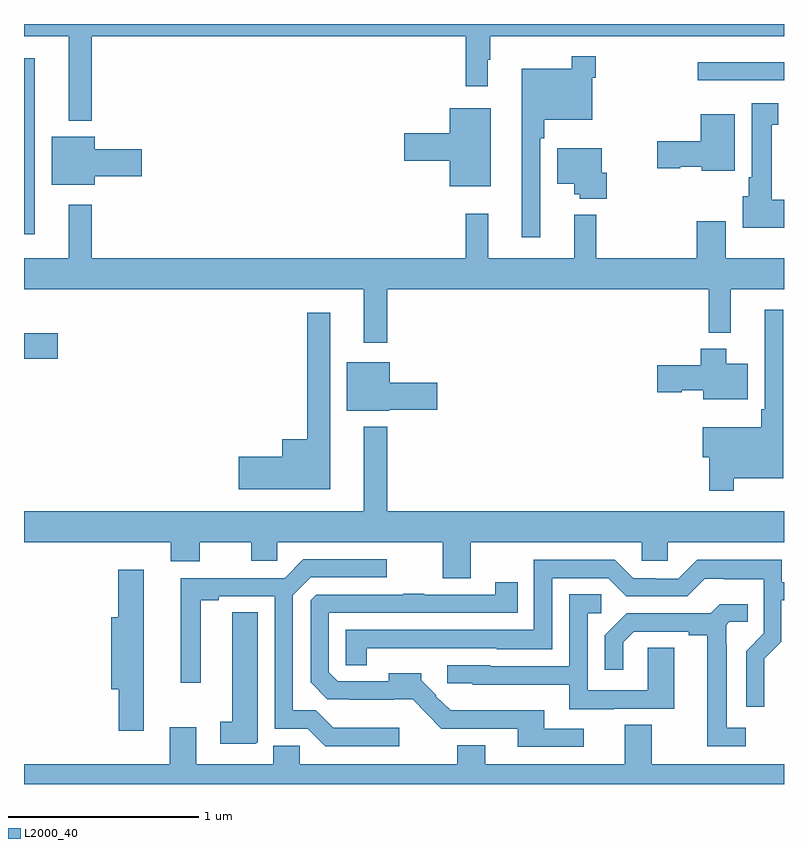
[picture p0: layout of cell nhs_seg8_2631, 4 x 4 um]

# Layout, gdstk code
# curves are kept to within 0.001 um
import gdstk
lib = gdstk.Library(unit=1e-6, precision=1e-09)
def R(c, l, rs):  # rectangles x0, y0, x1, y1
    for r in rs: c.add(gdstk.rectangle(r[:2], r[2:], *l))
def P(c, l, *ps):  # polygons
    for p in ps: c.add(gdstk.Polygon(p, *l))
L2000_40 = (2000, 40)

nhs_seg8_2631 = lib.new_cell('nhs_seg8_2631')
R(nhs_seg8_2631, L2000_40, [(277,1112.138,277.177,1112.272), (277,1112.793,277.057,1113.721), (280.545,1113.603,281,1113.7)])
P(nhs_seg8_2631, L2000_40, [(277.357,1113.836),(279.325,1113.836),(279.325,1113.573),(279.442,1113.573),(279.442,1113.713),(279.454,1113.713),(279.454,1113.836),(281,1113.836),(281,1113.9),(277,1113.9),(277,1113.836),(277.235,1113.836),(277.235,1113.392),(277.357,1113.392)],
  [(279.717,1113.299),(279.737,1113.299),(279.737,1113.395),(279.99,1113.395),(279.99,1113.617),(280.01,1113.617),(280.01,1113.73),(279.882,1113.73),(279.882,1113.664),(279.62,1113.664),(279.62,1112.778),(279.717,1112.778)],
  [(281,1112.974),(280.936,1112.974),(280.936,1113.371),(280.969,1113.371),(280.969,1113.484),(280.829,1113.484),(280.829,1113.094),(280.814,1113.094),(280.814,1112.994),(280.784,1112.994),(280.784,1112.828),(281,1112.828)],
  [(279.457,1113.457),(279.242,1113.457),(279.242,1113.326),(279,1113.326),(279,1113.179),(279.242,1113.179),(279.242,1113.047),(279.457,1113.047)],
  [(280.741,1113.424),(280.562,1113.424),(280.562,1113.284),(280.332,1113.284),(280.332,1113.142),(280.455,1113.142),(280.455,1113.149),(280.566,1113.149),(280.566,1113.128),(280.741,1113.128)],
  [(277.372,1113.1),(277.621,1113.1),(277.621,1113.242),(277.372,1113.242),(277.372,1113.307),(277.145,1113.307),(277.145,1113.053),(277.372,1113.053)],
  [(280.067,1113.117),(280.042,1113.117),(280.042,1113.247),(279.806,1113.247),(279.806,1113.059),(279.896,1113.059),(279.896,1113.003),(279.924,1113.003),(279.924,1112.981),(280.067,1112.981)],
  [(278.911,1112.504),(280.603,1112.504),(280.603,1112.276),(280.721,1112.276),(280.721,1112.504),(281,1112.504),(281,1112.668),(280.693,1112.668),(280.693,1112.863),(280.541,1112.863),(280.541,1112.668),(280.013,1112.668),(280.013,1112.896),(279.896,1112.896),(279.896,1112.668),(279.443,1112.668),(279.443,1112.902),(279.325,1112.902),(279.325,1112.668),(277.357,1112.668),(277.357,1112.95),(277.235,1112.95),(277.235,1112.668),(277,1112.668),(277,1112.504),(278.789,1112.504),(278.789,1112.223),(278.911,1112.223)],
  [(280.735,1111.508),(280.996,1111.508),(280.996,1112.395),(280.899,1112.395),(280.899,1111.873),(280.879,1111.873),(280.879,1111.777),(280.572,1111.777),(280.572,1111.619),(280.606,1111.619),(280.606,1111.443),(280.735,1111.443)],
  [(278.611,1112.38),(278.49,1112.38),(278.49,1111.714),(278.36,1111.714),(278.36,1111.622),(278.13,1111.622),(278.13,1111.451),(278.611,1111.451)],
  [(280.81,1112.113),(280.696,1112.113),(280.696,1112.191),(280.562,1112.191),(280.562,1112.103),(280.332,1112.103),(280.332,1111.961),(280.461,1111.961),(280.461,1111.973),(280.574,1111.973),(280.574,1111.925),(280.81,1111.925)],
  [(278.922,1111.871),(279.175,1111.871),(279.175,1112.013),(278.926,1112.013),(278.926,1112.119),(278.699,1112.119),(278.699,1111.865),(278.922,1111.865)],
  [(279.351,1111.172),(280.251,1111.172),(280.251,1111.074),(280.389,1111.074),(280.389,1111.172),(281,1111.172),(281,1111.336),(278.911,1111.336),(278.911,1111.78),(278.789,1111.78),(278.789,1111.336),(277,1111.336),(277,1111.172),(277.772,1111.172),(277.772,1111.073),(277.924,1111.073),(277.924,1111.172),(278.195,1111.172),(278.195,1111.074),(278.334,1111.074),(278.334,1111.172),(279.203,1111.172),(279.203,1110.982),(279.351,1110.982)],
  [(278.974,1110.196),(278.627,1110.196),(278.536,1110.287),(278.415,1110.287),(278.415,1110.894),(278.508,1110.987),(278.908,1110.987),(278.908,1111.083),(278.471,1111.083),(278.372,1110.984),(277.826,1110.984),(277.826,1110.432),(277.93,1110.432),(277.93,1110.868),(278.026,1110.868),(278.026,1110.888),(278.319,1110.888),(278.319,1110.192),(278.493,1110.192),(278.586,1110.099),(278.974,1110.099)],
  [(280.896,1110.452),(280.895,1110.558),(280.986,1110.65),(280.986,1110.866),(281,1110.866),(281,1110.963),(280.987,1110.963),(280.987,1111.081),(280.543,1111.081),(280.443,1110.981),(280.326,1110.981),(280.326,1110.984),(280.206,1110.984),(280.11,1111.08),(279.684,1111.08),(279.684,1110.711),(278.694,1110.711),(278.694,1110.526),(278.803,1110.526),(278.803,1110.614),(279.489,1110.615),(279.489,1110.608),(279.78,1110.608),(279.78,1110.984),(280.074,1110.984),(280.17,1110.888),(280.491,1110.888),(280.584,1110.981),(280.684,1110.981),(280.684,1110.977),(280.893,1110.977),(280.893,1110.693),(280.8,1110.6),(280.8,1110.306),(280.896,1110.306)],
  [(277.63,1111.027),(277.496,1111.027),(277.496,1110.778),(277.46,1110.778),(277.46,1110.398),(277.499,1110.398),(277.499,1110.18),(277.63,1110.18)],
  [(279.946,1110.192),(279.739,1110.192),(279.739,1110.289),(279.346,1110.289),(279.346,1110.287),(279.245,1110.287),(279.168,1110.363),(279.171,1110.366),(279.092,1110.445),(279.092,1110.484),(278.921,1110.484),(278.921,1110.441),(278.652,1110.441),(278.604,1110.489),(278.604,1110.801),(279.599,1110.801),(279.599,1110.961),(279.481,1110.961),(279.481,1110.897),(279.107,1110.897),(279.107,1110.902),(278.995,1110.902),(278.995,1110.897),(278.538,1110.897),(278.508,1110.867),(278.508,1110.435),(278.597,1110.346),(278.713,1110.346),(278.713,1110.344),(279.047,1110.345),(279.121,1110.271),(279.119,1110.269),(279.195,1110.192),(279.599,1110.192),(279.599,1110.096),(279.946,1110.096)],
  [(280.105,1110.297),(280.423,1110.297),(280.423,1110.617),(280.284,1110.617),(280.284,1110.393),(279.966,1110.393),(279.966,1110.798),(280.039,1110.798),(280.039,1110.899),(279.87,1110.899),(279.87,1110.519),(279.453,1110.519),(279.453,1110.525),(279.228,1110.525),(279.228,1110.429),(279.363,1110.429),(279.363,1110.422),(279.869,1110.422),(279.869,1110.293),(280.105,1110.293)],
  [(280.798,1110.195),(280.699,1110.195),(280.699,1110.635),(280.695,1110.635),(280.695,1110.735),(280.713,1110.753),(280.808,1110.753),(280.808,1110.845),(280.662,1110.845),(280.614,1110.798),(280.172,1110.798),(280.056,1110.682),(280.056,1110.501),(280.153,1110.501),(280.153,1110.645),(280.21,1110.702),(280.499,1110.702),(280.499,1110.682),(280.595,1110.682),(280.595,1110.099),(280.798,1110.099)],
  [(278.23,1110.121),(278.23,1110.803),(278.096,1110.803),(278.096,1110.227),(278.034,1110.227),(278.034,1110.111),(278.22,1110.111)],
  [(281,1110.004),(280.303,1110.004),(280.303,1110.212),(280.163,1110.212),(280.163,1110.004),(279.427,1110.004),(279.427,1110.103),(279.28,1110.103),(279.28,1110.004),(278.451,1110.004),(278.451,1110.102),(278.312,1110.102),(278.312,1110.004),(277.906,1110.004),(277.906,1110.199),(277.766,1110.199),(277.766,1110.004),(277,1110.004),(277,1109.9),(281,1109.9)])

lib.write_gds('nhs_seg8_2631.gds')
